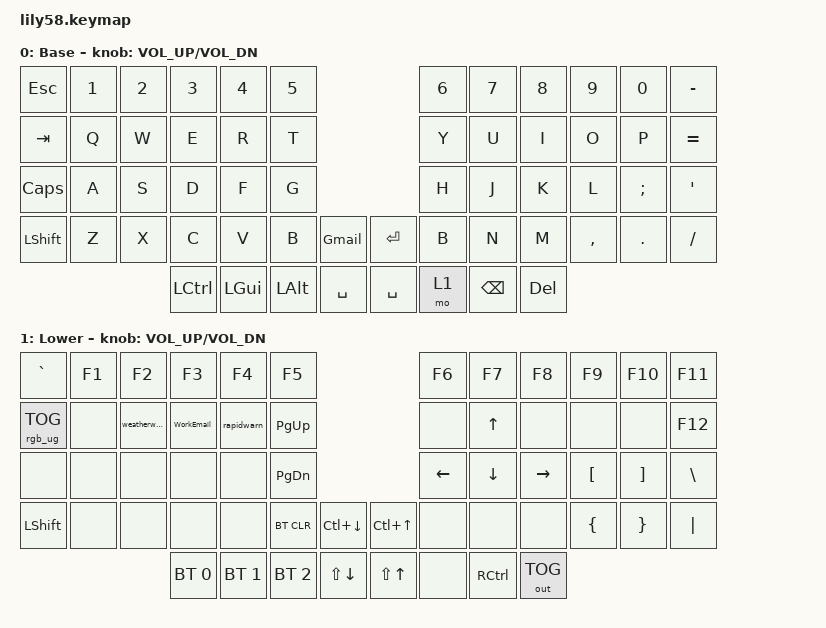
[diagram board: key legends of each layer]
/*
 * Copyright (c) 2020 The ZMK Contributors
 *
 * SPDX-License-Identifier: MIT
 */

#include <behaviors.dtsi>
#include <dt-bindings/zmk/bt.h>
#include <dt-bindings/zmk/keys.h>
#include <dt-bindings/zmk/outputs.h>
#include <dt-bindings/zmk/rgb.h>

/ {
    macros {
        weatherwarn: weatherwarn {
            compatible = "zmk,behavior-macro";
            #binding-cells = <0>;
            bindings = <&kp W &kp E &kp A &kp T &kp H &kp E &kp R &kp W &kp A &kp R &kp N>;
            label = "WEATHERWARN";
        };

        rapidwarn: rapidwarn {
            compatible = "zmk,behavior-macro";
            #binding-cells = <0>;
            bindings = <&kp R &kp A &kp P &kp I &kp D &kp W &kp A &kp R &kp N>;
            label = "RAPIDWARN";
        };

        Gmail: emailpersonal {
            compatible = "zmk,behavior-macro";
            #binding-cells = <0>;
            bindings = <&kp M &kp A &kp T &kp T &kp B &kp L &kp A &kp S &kp K &kp O &kp W &kp S &kp K &kp I &kp AT &kp G &kp M &kp A &kp I &kp L &kp DOT &kp C &kp O &kp M>;
            label = "EMAILPERSONAL";
        };

        WorkEmail: WorkEmail {
            compatible = "zmk,behavior-macro";
            #binding-cells = <0>;
            bindings = <&kp M &kp A &kp T &kp T &kp B &kp L &kp A &kp S &kp K &kp O &kp W &kp S &kp K &kp I &kp AT &kp C &kp A &kp L &kp L &kp M &kp C &kp DOT &kp C &kp O &kp M>;
            label = "WORKEMAIL";
        };
    };

    keymap {
        compatible = "zmk,keymap";

        default_layer {
            // ------------------------------------------------------------------------------------------------------------
            // |  ESC  |  1  |  2  |  3   |  4   |  5   |                   |  6   |  7    |  8    |  9   |   0   |   `   |
            // |  TAB  |  Q  |  W  |  E   |  R   |  T   |                   |  Y   |  U    |  I    |  O   |   P   |   -   |
            // |  CTRL |  A  |  S  |  D   |  F   |  G   |                   |  H   |  J    |  K    |  L   |   ;   |   '   |
            // | SHIFT |  Z  |  X  |  C   |  V   |  B   |   "["  |  |  "]"  |  N   |  M    |  ,    |  .   |   /   | SHIFT |
            //                     | ALT  | GUI  | LOWER|  SPACE |  | ENTER | RAISE| BSPC  | GUI   |

            display-name = "Base";
            bindings = <
&kp ESCAPE  &kp N1  &kp N2  &kp N3            &kp N4    &kp N5                                &kp N6  &kp N7         &kp N8      &kp N9     &kp N0      &kp MINUS
&kp TAB     &kp Q   &kp W   &kp E             &kp R     &kp T                                 &kp Y   &kp U          &kp I       &kp O      &kp P       &kp EQUAL
&kp CLCK    &kp A   &kp S   &kp D             &kp F     &kp G                                 &kp H   &kp J          &kp K       &kp L      &kp SEMI    &kp SQT
&kp LSHFT   &kp Z   &kp X   &kp C             &kp V     &kp B         &Gmail       &kp ENTER  &kp B   &kp N          &kp M       &kp COMMA  &kp PERIOD  &kp SLASH
                            &kp LEFT_CONTROL  &kp LGUI  &kp LEFT_ALT  &kp SPACE    &kp SPACE  &mo 1   &kp BACKSPACE  &kp DELETE
            >;

            sensor-bindings = <&inc_dec_kp C_VOL_UP C_VOL_DN>;
        };

        lower_layer {
            // ------------------------------------------------------------------------------------------------------------
            // | BTCLR | BT1 | BT2 |  BT3 |  BT4 |  BT5 |                   |      |       |       |      |       |       |
            // |  F1   |  F2 |  F3 |  F4  |  F5  |  F6  |                   |  F7  |  F8   |  F9   |  F10 |  F11  |  F12  |
            // |   `   |  !  |  @  |  #   |  $   |  %   |                   |  ^   |  &    |  *    |  (   |   )   |   ~   |
            // |       |     |     |      |      |      |        |  |       |      |  _    |  +    |  {   |   }   |  "|"  |
            //                     |      |      |      |        |  |       |      |       |       |

            display-name = "Lower";
            bindings = <
&kp GRAVE        &kp F1  &kp F2        &kp F3        &kp F4        &kp F5                                     &kp F6    &kp F7             &kp F8        &kp F9            &kp F10            &kp F11
&rgb_ug RGB_TOG  &none   &weatherwarn  &WorkEmail    &rapidwarn    &kp PAGE_UP                                &none     &kp UP             &none         &none             &none              &kp F12
&none            &none   &none         &none         &none         &kp PAGE_DOWN                              &kp LEFT  &kp DOWN           &kp RIGHT     &kp LEFT_BRACKET  &kp RIGHT_BRACKET  &kp BACKSLASH
&kp LEFT_SHIFT   &none   &none         &none         &none         &bt BT_CLR     &kp LC(DOWN)    &kp LC(UP)  &none     &none              &none         &kp LBRC          &kp RBRC           &kp PIPE
                                       &bt BT_SEL 0  &bt BT_SEL 1  &bt BT_SEL 2   &kp LS(DOWN)    &kp LS(UP)  &none     &kp RIGHT_CONTROL  &out OUT_TOG
            >;

            sensor-bindings = <&inc_dec_kp C_VOL_UP C_VOL_DN>;
        };
    };
};
